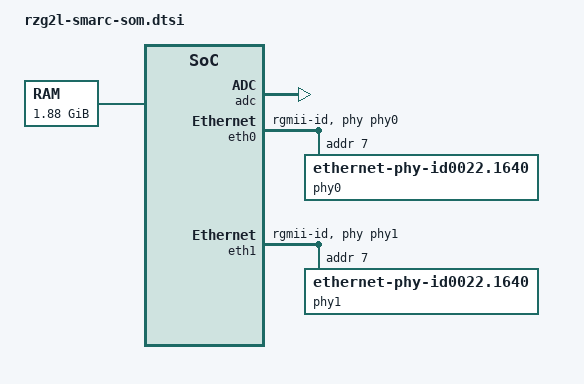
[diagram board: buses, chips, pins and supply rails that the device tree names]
// SPDX-License-Identifier: (GPL-2.0-only OR BSD-2-Clause)
/*
 * Device Tree Source for the RZ/G2L SMARC SOM common parts
 *
 * Copyright (C) 2021 Renesas Electronics Corp.
 */

#include <dt-bindings/pinctrl/rzg2l-pinctrl.h>

/ {
	aliases {
		ethernet0 = &eth0;
		ethernet1 = &eth1;
	};

	chosen {
		bootargs = "ignore_loglevel rw root=/dev/nfs ip=on";
	};

	memory@48000000 {
		device_type = "memory";
		/* first 128MB is reserved for secure area. */
		reg = <0x0 0x48000000 0x0 0x78000000>;
	};
};

&adc {
	pinctrl-0 = <&adc_pins>;
	pinctrl-names = "default";
	status = "okay";

	/delete-node/ channel@6;
	/delete-node/ channel@7;
};

&eth0 {
	pinctrl-0 = <&eth0_pins>;
	pinctrl-names = "default";
	phy-handle = <&phy0>;
	phy-mode = "rgmii-id";
	status = "okay";

	phy0: ethernet-phy@7 {
		compatible = "ethernet-phy-id0022.1640",
			     "ethernet-phy-ieee802.3-c22";
		reg = <7>;
		rxc-skew-psec = <2400>;
		txc-skew-psec = <2400>;
		rxdv-skew-psec = <0>;
		txdv-skew-psec = <0>;
		rxd0-skew-psec = <0>;
		rxd1-skew-psec = <0>;
		rxd2-skew-psec = <0>;
		rxd3-skew-psec = <0>;
		txd0-skew-psec = <0>;
		txd1-skew-psec = <0>;
		txd2-skew-psec = <0>;
		txd3-skew-psec = <0>;
	};
};

&eth1 {
	pinctrl-0 = <&eth1_pins>;
	pinctrl-names = "default";
	phy-handle = <&phy1>;
	phy-mode = "rgmii-id";
	status = "okay";

	phy1: ethernet-phy@7 {
		compatible = "ethernet-phy-id0022.1640",
			     "ethernet-phy-ieee802.3-c22";
		reg = <7>;
		rxc-skew-psec = <2400>;
		txc-skew-psec = <2400>;
		rxdv-skew-psec = <0>;
		txdv-skew-psec = <0>;
		rxd0-skew-psec = <0>;
		rxd1-skew-psec = <0>;
		rxd2-skew-psec = <0>;
		rxd3-skew-psec = <0>;
		txd0-skew-psec = <0>;
		txd1-skew-psec = <0>;
		txd2-skew-psec = <0>;
		txd3-skew-psec = <0>;
	};
};

&extal_clk {
	clock-frequency = <24000000>;
};

&pinctrl {
	adc_pins: adc {
		pinmux = <RZG2L_PORT_PINMUX(9, 0, 2)>; /* ADC_TRG */
	};

	eth0_pins: eth0 {
		pinmux = <RZG2L_PORT_PINMUX(28, 1, 1)>, /* ET0_LINKSTA */
			 <RZG2L_PORT_PINMUX(27, 1, 1)>, /* ET0_MDC */
			 <RZG2L_PORT_PINMUX(28, 0, 1)>, /* ET0_MDIO */
			 <RZG2L_PORT_PINMUX(20, 0, 1)>, /* ET0_TXC */
			 <RZG2L_PORT_PINMUX(20, 1, 1)>, /* ET0_TX_CTL */
			 <RZG2L_PORT_PINMUX(20, 2, 1)>, /* ET0_TXD0 */
			 <RZG2L_PORT_PINMUX(21, 0, 1)>, /* ET0_TXD1 */
			 <RZG2L_PORT_PINMUX(21, 1, 1)>, /* ET0_TXD2 */
			 <RZG2L_PORT_PINMUX(22, 0, 1)>, /* ET0_TXD3 */
			 <RZG2L_PORT_PINMUX(24, 0, 1)>, /* ET0_RXC */
			 <RZG2L_PORT_PINMUX(24, 1, 1)>, /* ET0_RX_CTL */
			 <RZG2L_PORT_PINMUX(25, 0, 1)>, /* ET0_RXD0 */
			 <RZG2L_PORT_PINMUX(25, 1, 1)>, /* ET0_RXD1 */
			 <RZG2L_PORT_PINMUX(26, 0, 1)>, /* ET0_RXD2 */
			 <RZG2L_PORT_PINMUX(26, 1, 1)>; /* ET0_RXD3 */
	};

	eth1_pins: eth1 {
		pinmux = <RZG2L_PORT_PINMUX(37, 2, 1)>, /* ET1_LINKSTA */
			 <RZG2L_PORT_PINMUX(37, 0, 1)>, /* ET1_MDC */
			 <RZG2L_PORT_PINMUX(37, 1, 1)>, /* ET1_MDIO */
			 <RZG2L_PORT_PINMUX(29, 0, 1)>, /* ET1_TXC */
			 <RZG2L_PORT_PINMUX(29, 1, 1)>, /* ET1_TX_CTL */
			 <RZG2L_PORT_PINMUX(30, 0, 1)>, /* ET1_TXD0 */
			 <RZG2L_PORT_PINMUX(30, 1, 1)>, /* ET1_TXD1 */
			 <RZG2L_PORT_PINMUX(31, 0, 1)>, /* ET1_TXD2 */
			 <RZG2L_PORT_PINMUX(31, 1, 1)>, /* ET1_TXD3 */
			 <RZG2L_PORT_PINMUX(33, 1, 1)>, /* ET1_RXC */
			 <RZG2L_PORT_PINMUX(34, 0, 1)>, /* ET1_RX_CTL */
			 <RZG2L_PORT_PINMUX(34, 1, 1)>, /* ET1_RXD0 */
			 <RZG2L_PORT_PINMUX(35, 0, 1)>, /* ET1_RXD1 */
			 <RZG2L_PORT_PINMUX(35, 1, 1)>, /* ET1_RXD2 */
			 <RZG2L_PORT_PINMUX(36, 0, 1)>; /* ET1_RXD3 */
	};
};
